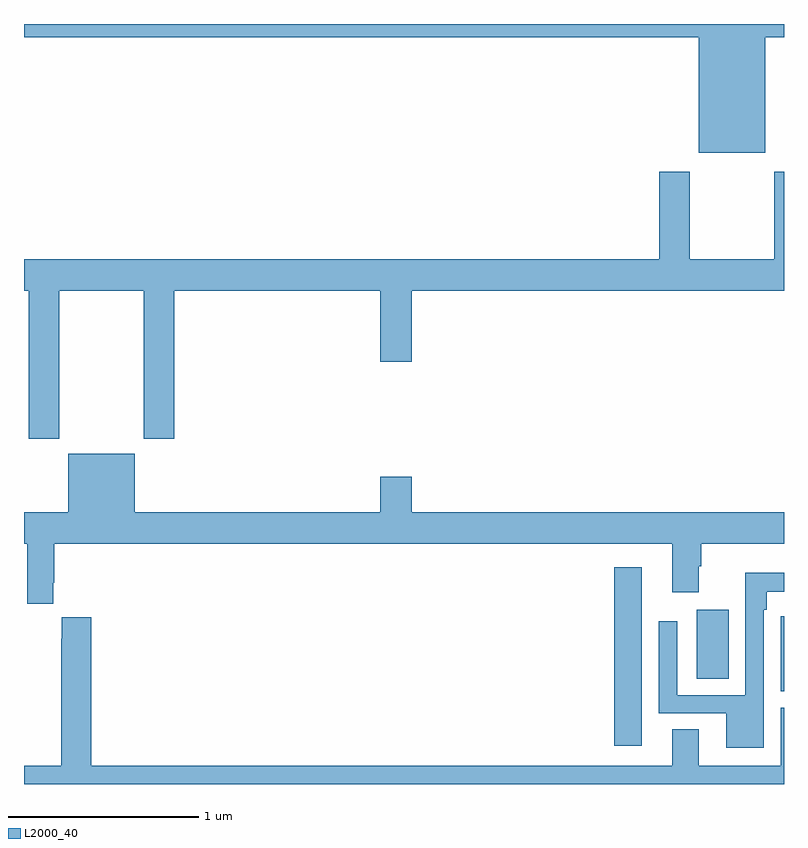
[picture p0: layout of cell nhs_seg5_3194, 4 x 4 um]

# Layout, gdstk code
import gdstk
lib = gdstk.Library(unit=1e-6, precision=1e-09)
def R(c, l, rs):  # rectangles x0, y0, x1, y1
    for r in rs: c.add(gdstk.rectangle(r[:2], r[2:], *l))
def P(c, l, *ps):  # polygons
    for p in ps: c.add(gdstk.Polygon(p, *l))
L2000_40 = (2000, 40)

nhs_seg5_3194 = lib.new_cell('nhs_seg5_3194')
R(nhs_seg5_3194, L2000_40, [(298.106,885,298.252,885.94), (298.541,885.352,298.708,885.715)])
P(nhs_seg5_3194, L2000_40, [(298.9,888.728),(299,888.728),(299,888.799),(295,888.799),(295,888.728),(298.55,888.728),(298.55,888.122),(298.9,888.122)],
  [(295.185,887.396),(295.63,887.396),(295.63,886.617),(295.79,886.617),(295.79,887.396),(296.876,887.396),(296.876,887.022),(297.04,887.022),(297.04,887.396),(299,887.396),(299,888.022),(298.948,888.022),(298.948,887.56),(298.503,887.56),(298.503,888.022),(298.343,888.022),(298.343,887.56),(295,887.56),(295,887.396),(295.025,887.396),(295.025,886.617),(295.185,886.617)],
  [(297.04,886.417),(296.876,886.417),(296.876,886.228),(295.582,886.228),(295.582,886.537),(295.232,886.537),(295.232,886.228),(295,886.228),(295,886.064),(295.016,886.064),(295.016,885.747),(295.153,885.747),(295.153,885.859),(295.16,885.859),(295.16,886.064),(298.412,886.064),(298.412,885.807),(298.552,885.807),(298.552,885.944),(298.565,885.944),(298.565,886.064),(299,886.064),(299,886.228),(297.04,886.228)],
  [(298.893,885.716),(298.909,885.716),(298.909,885.812),(299,885.812),(299,885.91),(298.797,885.91),(298.797,885.267),(298.437,885.267),(298.437,885.655),(298.341,885.655),(298.341,885.171),(298.697,885.171),(298.697,884.99),(298.893,884.99)],
  [(299,885.682),(298.983,885.682),(298.983,885.569),(298.982,885.569),(298.982,885.286),(299,885.286)],
  [(295.199,885.676),(295.199,885.563),(295.195,885.563),(295.195,884.896),(295,884.896),(295,884.799),(299,884.799),(299,885.201),(298.982,885.201),(298.982,884.896),(298.552,884.896),(298.552,885.086),(298.412,885.086),(298.412,884.896),(295.355,884.896),(295.355,885.676)])

lib.write_gds('nhs_seg5_3194.gds')
